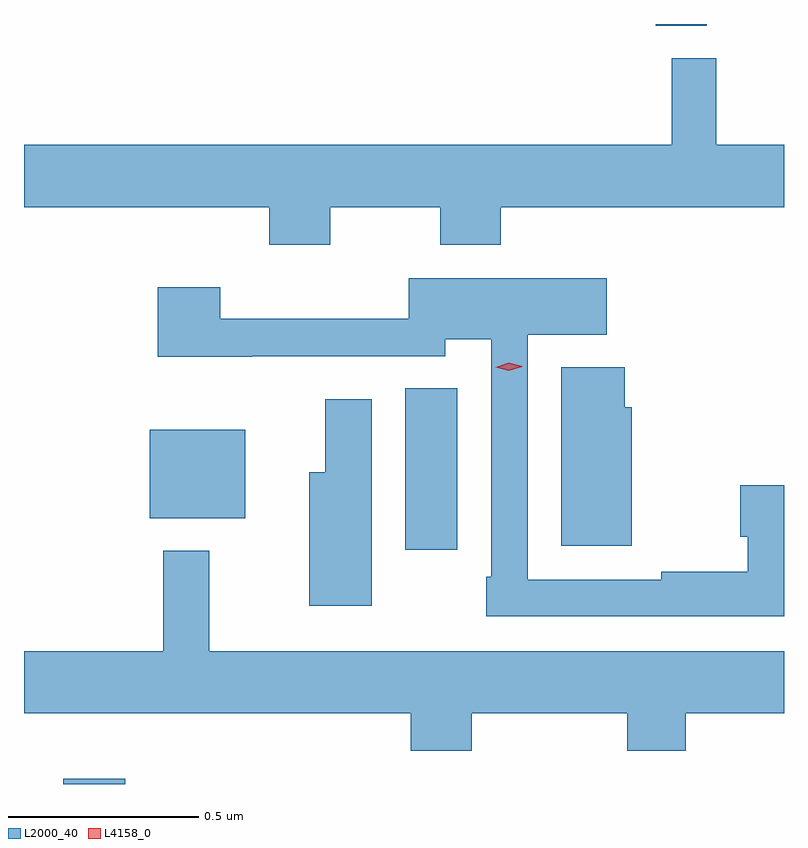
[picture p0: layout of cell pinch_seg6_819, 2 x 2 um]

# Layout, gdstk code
import gdstk
lib = gdstk.Library(unit=1e-6, precision=1e-09)
def R(c, l, rs):  # rectangles x0, y0, x1, y1
    for r in rs: c.add(gdstk.rectangle(r[:2], r[2:], *l))
def P(c, l, *ps):  # polygons
    for p in ps: c.add(gdstk.Polygon(p, *l))
L2000_40 = (2000, 40)
L4158_0 = (4158, 0)

pinch_seg6_819 = lib.new_cell('pinch_seg6_819')
R(pinch_seg6_819, L2000_40, [(282.332,959.138,282.496,959.152), (283.232,959.754,283.369,960.179), (282.56,959.837,282.811,960.07), (283.892,961.133,284.026,961.138)])
P(pinch_seg6_819, L2000_40, [(283.035,960.656),(283.324,960.656),(283.324,960.557),(283.484,960.557),(283.484,960.656),(284.229,960.656),(284.229,960.82),(284.051,960.82),(284.051,961.048),(283.933,961.048),(283.933,960.82),(282.229,960.82),(282.229,960.656),(282.875,960.656),(282.875,960.557),(283.035,960.557)],
  [(284.229,959.924),(284.114,959.924),(284.114,959.789),(284.133,959.789),(284.133,959.696),(283.906,959.696),(283.906,959.676),(283.554,959.676),(283.554,960.32),(283.762,960.32),(283.762,960.469),(283.242,960.469),(283.242,960.362),(282.746,960.362),(282.746,960.445),(282.581,960.445),(282.581,960.263),(282.829,960.263),(282.829,960.264),(283.338,960.264),(283.338,960.308),(283.458,960.308),(283.458,959.683),(283.446,959.683),(283.446,959.58),(284.229,959.58)],
  [(283.828,960.129),(283.81,960.129),(283.81,960.235),(283.643,960.235),(283.643,959.765),(283.828,959.765)],
  [(283.144,960.151),(283.022,960.151),(283.022,959.959),(282.98,959.959),(282.98,959.607),(283.144,959.607)],
  [(283.407,959.324),(283.816,959.324),(283.816,959.225),(283.971,959.225),(283.971,959.324),(284.229,959.324),(284.229,959.488),(282.716,959.488),(282.716,959.752),(282.595,959.752),(282.595,959.488),(282.229,959.488),(282.229,959.324),(283.247,959.324),(283.247,959.225),(283.407,959.225)])
P(pinch_seg6_819, L4158_0, [(283.505,960.226),(283.47,960.235),(283.47,960.235),(283.47,960.235),(283.505,960.246),(283.54,960.237),(283.54,960.236),(283.54,960.236)])

lib.write_gds('pinch_seg6_819.gds')
